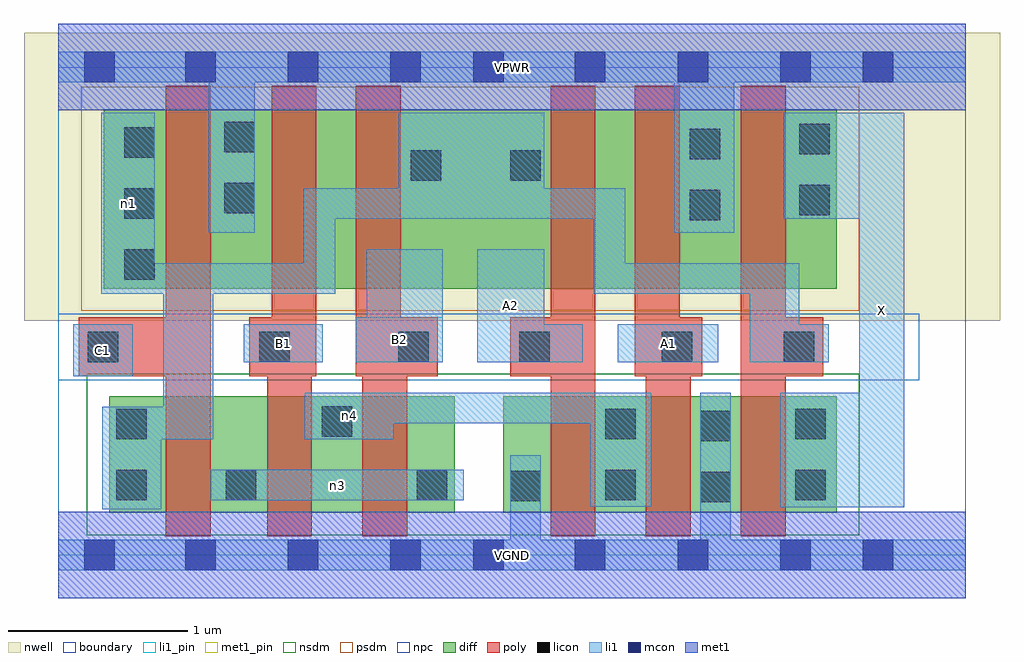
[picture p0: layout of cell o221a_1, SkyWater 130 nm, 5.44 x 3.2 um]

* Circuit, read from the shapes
.subckt o221a_1 A1 A2 B1 B2 C1 VGND VPWR X n1 n3 n4
XM1 n3 C1 n1 VSUBS sky130_fd_pr__nfet_01v8 w=0.65 l=0.25
XM2 n4 B1 n3 VSUBS sky130_fd_pr__nfet_01v8 w=0.65 l=0.25
XM3 n3 B2 n4 VSUBS sky130_fd_pr__nfet_01v8 w=0.65 l=0.25
XM4 n4 A2 VGND VSUBS sky130_fd_pr__nfet_01v8 w=0.65 l=0.25
XM5 VGND A1 n4 VSUBS sky130_fd_pr__nfet_01v8 w=0.65 l=0.25
XM6 X n1 VGND VSUBS sky130_fd_pr__nfet_01v8 w=0.65 l=0.25
XM7 VPWR C1 n1 n2 sky130_fd_pr__pfet_01v8 w=1 l=0.25
XM8 n5 B1 VPWR n2 sky130_fd_pr__pfet_01v8 w=1 l=0.25
XM9 n1 B2 n5 n2 sky130_fd_pr__pfet_01v8 w=1 l=0.25
XM10 n6 A2 n1 n2 sky130_fd_pr__pfet_01v8 w=1 l=0.25
XM11 VPWR A1 n6 n2 sky130_fd_pr__pfet_01v8 w=1 l=0.25
XM12 X n1 VPWR n2 sky130_fd_pr__pfet_01v8 w=1 l=0.25
.ends

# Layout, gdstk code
import gdstk
lib = gdstk.Library(unit=1e-6, precision=1e-09)
def R(c, l, rs):  # rectangles x0, y0, x1, y1
    for r in rs: c.add(gdstk.rectangle(r[:2], r[2:], *l))
def A(c, l, x, y, w, h, nx, ny, dx, dy):  # array of equal rectangles
    R(c, l, [(x+i*dx, y+j*dy, x+i*dx+w, y+j*dy+h) for i in range(nx) for j in range(ny)])
nwell = (64, 20)
diff = (65, 20)
poly = (66, 20)
licon = (66, 44)
li1_pin = (67, 16)
li1 = (67, 20)
mcon = (67, 44)
met1_pin = (68, 16)
met1 = (68, 20)
nsdm = (93, 44)
psdm = (94, 20)
npc = (95, 20)
boundary = (235, 4)

o221a_1 = lib.new_cell('o221a_1')
R(o221a_1, nwell, [(-0.19,1.305,5.25,2.91), (0,1.305,5.06,2.91)])
R(o221a_1, diff, [(0.285,0.235,2.21,0.885), (2.48,0.235,4.34,0.885), (0.255,1.485,4.34,2.485)])
R(o221a_1, poly, [(0.6,0.105,0.85,2.615), (1.165,0.105,1.415,1.325), (1.695,0.105,1.945,1.325), (2.745,0.105,2.995,2.615), (3.275,0.105,3.525,1.325), (3.805,0.105,4.055,2.615), (0.115,0.995,0.85,1.325), (1.065,0.995,1.44,1.325), (1.19,0.995,1.44,2.615), (1.66,0.995,1.91,2.615), (1.66,0.995,2.115,1.325), (2.52,0.995,2.995,1.325), (3.215,0.995,3.59,1.325), (3.215,0.995,3.465,2.615), (3.805,0.995,4.265,1.325)])
A(o221a_1, licon, 0.37, 1.535, 0.17, 0.17, 1, 3, 0, 0.34)
R(o221a_1, licon, [(3.58,0.295,3.75,0.465), (2.52,0.3,2.69,0.47), (0.325,0.305,0.495,0.475), (0.935,0.305,1.105,0.475), (2,0.305,2.17,0.475), (3.05,0.305,3.22,0.475), (4.11,0.305,4.28,0.475), (3.58,0.635,3.75,0.805), (0.325,0.645,0.495,0.815), (3.05,0.645,3.22,0.815), (4.11,0.645,4.28,0.815), (1.47,0.66,1.64,0.83), (0.165,1.075,0.335,1.245), (1.12,1.075,1.29,1.245), (1.895,1.075,2.065,1.245), (2.57,1.075,2.74,1.245), (3.365,1.075,3.535,1.245), (4.045,1.075,4.215,1.245), (3.52,1.865,3.69,2.035), (4.13,1.895,4.3,2.065), (0.925,1.905,1.095,2.075), (1.965,2.085,2.135,2.255), (2.52,2.085,2.69,2.255), (3.52,2.205,3.69,2.375), (4.13,2.235,4.3,2.405), (0.925,2.245,1.095,2.415)])
R(o221a_1, li1_pin, [(4.465,0.265,4.715,2.465), (0.085,0.995,0.415,1.285), (1.035,1.075,1.475,1.285), (1.66,1.075,2.145,1.325), (2.335,1.075,2.71,1.705), (3.12,1.075,3.68,1.285)])
R(o221a_1, li1, [(0,-0.085,5.06,0.085), (2.52,-0.085,2.69,0.555), (3.58,-0.085,3.75,0.905), (0.245,0.255,0.575,0.825), (4.025,0.265,4.715,0.905), (4.465,0.265,4.715,2.465), (2.965,0.27,3.305,0.905), (0.85,0.305,2.26,0.475), (0.245,0.645,0.865,0.825), (0.585,0.645,0.865,1.625), (1.375,0.645,1.87,0.905), (1.375,0.735,3.305,0.905), (0.085,0.995,0.415,1.285), (1.035,1.075,1.475,1.285), (1.66,1.075,2.145,1.325), (1.72,1.075,2.145,1.705), (2.335,1.075,2.71,1.705), (2.335,1.075,2.925,1.285), (3.12,1.075,3.68,1.285), (3.855,1.075,4.295,1.285), (3.855,1.075,4.13,1.625), (0.24,1.455,0.54,2.465), (0.24,1.455,1.545,1.625), (1.37,1.455,1.545,2.045), (2.985,1.455,3.16,2.045), (2.985,1.455,4.13,1.625), (0.84,1.795,1.095,2.805), (3.435,1.795,3.77,2.805), (1.37,1.875,3.16,2.045), (1.9,1.875,2.71,2.465), (4.045,1.875,4.715,2.465), (0,2.635,5.06,2.805)])
A(o221a_1, mcon, 0.71, -0.085, 0.17, 0.17, 3, 2, 0.57, 2.72)
R(o221a_1, mcon, [(0.145,-0.085,0.315,0.085), (2.315,-0.085,2.485,0.085), (2.88,-0.085,3.05,0.085), (3.455,-0.085,3.625,0.085), (4.025,-0.085,4.195,0.085), (4.485,-0.085,4.655,0.085), (0.145,2.635,0.315,2.805), (2.315,2.635,2.485,2.805), (2.88,2.635,3.05,2.805), (3.455,2.635,3.625,2.805), (4.025,2.635,4.195,2.805), (4.485,2.635,4.655,2.805)])
R(o221a_1, met1_pin, [(0,-0.24,5.06,0.24), (0,2.48,5.06,2.96)])
R(o221a_1, met1, [(0,-0.24,5.06,0.24), (0,2.48,5.06,2.96)])
R(o221a_1, nsdm, [(0.16,0.11,4.465,1.01)])
R(o221a_1, psdm, [(0.13,1.36,4.465,2.61)])
R(o221a_1, npc, [(0,0.975,4.8,1.345)])
R(o221a_1, boundary, [(0,0,5.06,2.72)])
o221a_1.add(gdstk.Label('A1', (3.4,1.18), layer=67, texttype=5))
o221a_1.add(gdstk.Label('A2', (2.522,1.39), layer=67, texttype=5))
o221a_1.add(gdstk.Label('B1', (1.255,1.18), layer=67, texttype=5))
o221a_1.add(gdstk.Label('B2', (1.902,1.2), layer=67, texttype=5))
o221a_1.add(gdstk.Label('C1', (0.25,1.14), layer=67, texttype=5))
o221a_1.add(gdstk.Label('X', (4.59,1.365), layer=67, texttype=5))
o221a_1.add(gdstk.Label('n3', (1.555,0.39), layer=67, texttype=5))
o221a_1.add(gdstk.Label('n4', (1.622,0.775), layer=67, texttype=5))
o221a_1.add(gdstk.Label('n1', (0.39,1.96), layer=67, texttype=5))
o221a_1.add(gdstk.Label('VPWR', (2.53,2.72), layer=68, texttype=5))
o221a_1.add(gdstk.Label('VGND', (2.53,0), layer=68, texttype=5))
o221a_1.add(gdstk.Label('A1', (3.4,1.18), layer=67, texttype=16))
o221a_1.add(gdstk.Label('A2', (2.522,1.39), layer=67, texttype=16))
o221a_1.add(gdstk.Label('B1', (1.255,1.18), layer=67, texttype=16))
o221a_1.add(gdstk.Label('B2', (1.902,1.2), layer=67, texttype=16))
o221a_1.add(gdstk.Label('C1', (0.25,1.14), layer=67, texttype=16))
o221a_1.add(gdstk.Label('X', (4.59,1.365), layer=67, texttype=16))
o221a_1.add(gdstk.Label('VPWR', (2.53,2.72), layer=68, texttype=16))
o221a_1.add(gdstk.Label('VGND', (2.53,0), layer=68, texttype=16))

lib.write_gds('o221a_1.gds')
